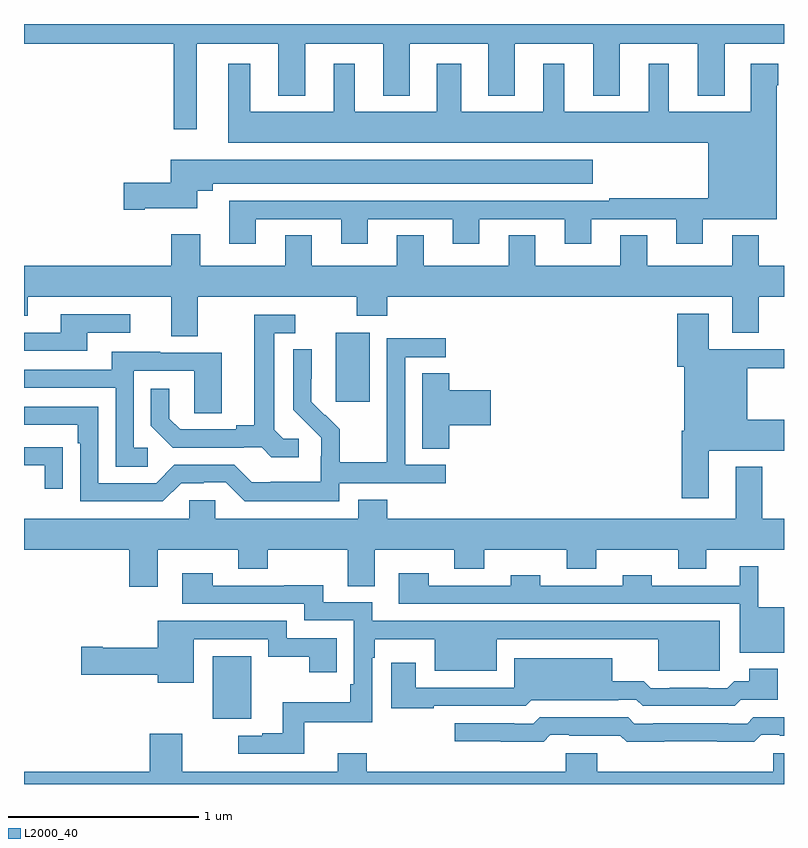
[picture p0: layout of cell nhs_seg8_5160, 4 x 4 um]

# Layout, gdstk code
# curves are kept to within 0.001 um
import gdstk
lib = gdstk.Library(unit=1e-6, precision=1e-09)
def R(c, l, rs):  # rectangles x0, y0, x1, y1
    for r in rs: c.add(gdstk.rectangle(r[:2], r[2:], *l))
def P(c, l, *ps):  # polygons
    for p in ps: c.add(gdstk.Polygon(p, *l))
L2000_40 = (2000, 40)

nhs_seg8_5160 = lib.new_cell('nhs_seg8_5160')
R(nhs_seg8_5160, L2000_40, [(421.994,1150.244,422.197,1150.573), (422.642,1151.913,422.821,1152.274)])
P(nhs_seg8_5160, L2000_40, [(421.909,1153.796),(422.339,1153.796),(422.339,1153.523),(422.479,1153.523),(422.479,1153.796),(422.891,1153.796),(422.891,1153.523),(423.031,1153.523),(423.031,1153.796),(423.443,1153.796),(423.443,1153.523),(423.583,1153.523),(423.583,1153.796),(423.995,1153.796),(423.995,1153.523),(424.135,1153.523),(424.135,1153.796),(424.547,1153.796),(424.547,1153.523),(424.687,1153.523),(424.687,1153.796),(425,1153.796),(425,1153.9),(421,1153.9),(421,1153.796),(421.788,1153.796),(421.788,1153.347),(421.909,1153.347)],
  [(422.221,1152.873),(422.669,1152.873),(422.669,1152.744),(422.809,1152.744),(422.809,1152.873),(423.257,1152.873),(423.257,1152.744),(423.397,1152.744),(423.397,1152.873),(423.845,1152.873),(423.845,1152.744),(423.985,1152.744),(423.985,1152.873),(424.433,1152.873),(424.433,1152.744),(424.573,1152.744),(424.573,1152.872),(424.963,1152.872),(424.963,1153.577),(424.971,1153.577),(424.971,1153.69),(424.826,1153.69),(424.826,1153.438),(424.393,1153.438),(424.393,1153.69),(424.289,1153.69),(424.289,1153.438),(423.844,1153.438),(423.844,1153.69),(423.734,1153.69),(423.734,1153.438),(423.301,1153.438),(423.301,1153.69),(423.173,1153.69),(423.173,1153.438),(422.74,1153.438),(422.74,1153.69),(422.63,1153.69),(422.63,1153.438),(422.191,1153.438),(422.191,1153.69),(422.075,1153.69),(422.075,1153.274),(424.601,1153.274),(424.601,1152.982),(424.081,1152.982),(424.081,1152.969),(422.081,1152.969),(422.081,1152.744),(422.221,1152.744)],
  [(421.636,1152.929),(421.912,1152.929),(421.912,1153.022),(421.993,1153.022),(421.993,1153.058),(423.994,1153.058),(423.994,1153.186),(421.772,1153.186),(421.772,1153.064),(421.524,1153.064),(421.524,1152.922),(421.636,1152.922)],
  [(421.915,1152.464),(422.752,1152.464),(422.752,1152.365),(422.912,1152.365),(422.912,1152.464),(424.727,1152.464),(424.727,1152.274),(424.867,1152.274),(424.867,1152.464),(425,1152.464),(425,1152.628),(424.867,1152.628),(424.867,1152.787),(424.727,1152.787),(424.727,1152.628),(424.279,1152.628),(424.279,1152.788),(424.139,1152.788),(424.139,1152.628),(423.691,1152.628),(423.691,1152.788),(423.551,1152.788),(423.551,1152.628),(423.103,1152.628),(423.103,1152.788),(422.963,1152.788),(422.963,1152.628),(422.515,1152.628),(422.515,1152.788),(422.375,1152.788),(422.375,1152.628),(421.927,1152.628),(421.927,1152.793),(421.775,1152.793),(421.775,1152.628),(421,1152.628),(421,1152.365),(421.021,1152.365),(421.021,1152.464),(421.775,1152.464),(421.775,1152.256),(421.915,1152.256)],
  [(424.603,1151.654),(425,1151.654),(425,1151.818),(424.807,1151.818),(424.807,1152.088),(425,1152.088),(425,1152.189),(424.603,1152.189),(424.603,1152.376),(424.439,1152.376),(424.439,1152.096),(424.475,1152.096),(424.475,1151.758),(424.463,1151.758),(424.463,1151.403),(424.603,1151.403)],
  [(421.333,1152.276),(421.558,1152.276),(421.558,1152.372),(421.193,1152.372),(421.193,1152.276),(421,1152.276),(421,1152.18),(421.333,1152.18)],
  [(422.446,1151.718),(422.364,1151.718),(422.317,1151.765),(422.317,1152.273),(422.428,1152.273),(422.428,1152.369),(422.213,1152.369),(422.213,1151.789),(422.117,1151.789),(422.117,1151.766),(421.822,1151.766),(421.765,1151.823),(421.765,1151.98),(421.668,1151.98),(421.668,1151.786),(421.784,1151.67),(422.156,1151.67),(422.156,1151.673),(422.25,1151.673),(422.302,1151.621),(422.446,1151.621)],
  [(422.658,1151.484),(423.22,1151.484),(423.22,1151.58),(423.006,1151.58),(423.006,1152.147),(423.22,1152.147),(423.22,1152.246),(422.91,1152.246),(422.91,1151.816),(422.908,1151.816),(422.908,1151.593),(422.663,1151.593),(422.663,1151.767),(422.586,1151.844),(422.583,1151.841),(422.513,1151.912),(422.514,1152.188),(422.418,1152.188),(422.418,1151.87),(422.564,1151.722),(422.564,1151.625),(422.562,1151.625),(422.562,1151.491),(422.299,1151.491),(422.299,1151.487),(422.199,1151.487),(422.106,1151.58),(421.791,1151.58),(421.695,1151.484),(421.392,1151.484),(421.392,1151.886),(421,1151.886),(421,1151.79),(421.283,1151.79),(421.283,1151.693),(421.296,1151.693),(421.296,1151.388),(421.731,1151.388),(421.827,1151.484),(421.946,1151.484),(421.946,1151.487),(422.061,1151.487),(422.161,1151.387),(422.658,1151.387)],
  [(421.651,1151.67),(421.578,1151.67),(421.578,1152.075),(421.896,1152.075),(421.896,1151.851),(422.041,1151.851),(422.041,1152.171),(421.717,1152.171),(421.717,1152.175),(421.463,1152.175),(421.463,1152.081),(421,1152.081),(421,1151.985),(421.482,1151.985),(421.482,1151.569),(421.651,1151.569)],
  [(423.239,1151.789),(423.457,1151.789),(423.457,1151.972),(423.239,1151.972),(423.239,1152.062),(423.095,1152.062),(423.095,1151.665),(423.239,1151.665)],
  [(421.205,1151.672),(421.103,1151.672),(421.103,1151.673),(421,1151.673),(421,1151.577),(421.109,1151.577),(421.109,1151.454),(421.205,1151.454)],
  [(421.705,1151.132),(422.128,1151.132),(422.128,1151.033),(422.283,1151.033),(422.283,1151.132),(422.705,1151.132),(422.705,1150.942),(422.845,1150.942),(422.845,1151.132),(423.265,1151.132),(423.265,1151.033),(423.423,1151.033),(423.423,1151.132),(423.856,1151.132),(423.856,1151.033),(424.011,1151.033),(424.011,1151.132),(424.444,1151.132),(424.444,1151.033),(424.591,1151.033),(424.591,1151.132),(425,1151.132),(425,1151.296),(424.885,1151.296),(424.885,1151.569),(424.745,1151.569),(424.745,1151.296),(422.912,1151.296),(422.912,1151.395),(422.759,1151.395),(422.759,1151.296),(422.007,1151.296),(422.007,1151.394),(421.869,1151.394),(421.869,1151.296),(421,1151.296),(421,1151.132),(421.553,1151.132),(421.553,1150.938),(421.705,1150.938)],
  [(425,1150.831),(424.864,1150.831),(424.864,1151.047),(424.766,1151.047),(424.766,1150.944),(424.305,1150.944),(424.305,1150.999),(424.15,1150.999),(424.15,1150.944),(423.717,1150.944),(423.717,1150.999),(423.562,1150.999),(423.562,1150.944),(423.129,1150.944),(423.129,1151.008),(422.973,1151.008),(422.973,1150.848),(424.766,1150.848),(424.766,1150.592),(425,1150.592)],
  [(422.476,1150.226),(422.832,1150.226),(422.832,1150.565),(422.845,1150.565),(422.845,1150.662),(423.161,1150.662),(423.161,1150.496),(423.487,1150.496),(423.487,1150.662),(424.337,1150.662),(424.337,1150.496),(424.663,1150.496),(424.663,1150.759),(424.441,1150.759),(424.441,1150.758),(422.833,1150.758),(422.833,1150.857),(422.575,1150.857),(422.575,1150.946),(422.371,1150.946),(422.371,1150.944),(421.994,1150.944),(421.994,1151.008),(421.833,1151.008),(421.833,1150.848),(422.474,1150.848),(422.474,1150.761),(422.736,1150.761),(422.736,1150.426),(422.716,1150.426),(422.716,1150.33),(422.363,1150.33),(422.363,1150.168),(422.253,1150.168),(422.253,1150.155),(422.127,1150.155),(422.127,1150.059),(422.476,1150.059)],
  [(421.894,1150.662),(422.286,1150.662),(422.286,1150.57),(422.5,1150.57),(422.5,1150.488),(422.647,1150.488),(422.647,1150.668),(422.382,1150.668),(422.382,1150.758),(421.703,1150.758),(421.703,1150.617),(421.414,1150.617),(421.414,1150.622),(421.302,1150.622),(421.302,1150.475),(421.703,1150.475),(421.703,1150.433),(421.894,1150.433)],
  [(423.157,1150.311),(423.64,1150.311),(423.669,1150.34),(424.127,1150.34),(424.127,1150.344),(424.223,1150.344),(424.256,1150.311),(424.74,1150.311),(424.773,1150.344),(424.966,1150.344),(424.966,1150.507),(424.817,1150.507),(424.817,1150.441),(424.738,1150.441),(424.701,1150.404),(424.601,1150.404),(424.601,1150.407),(424.399,1150.407),(424.399,1150.404),(424.299,1150.404),(424.261,1150.442),(424.096,1150.442),(424.096,1150.561),(423.579,1150.561),(423.579,1150.407),(423.061,1150.407),(423.061,1150.537),(422.933,1150.537),(422.933,1150.299),(423.157,1150.299)],
  [(423.771,1150.158),(423.871,1150.158),(423.871,1150.154),(424.139,1150.154),(424.172,1150.122),(424.37,1150.122),(424.37,1150.124),(424.648,1150.124),(424.648,1150.122),(424.843,1150.122),(424.879,1150.158),(424.978,1150.158),(424.978,1150.155),(425,1150.155),(425,1150.251),(424.839,1150.251),(424.806,1150.218),(424.706,1150.218),(424.706,1150.221),(424.312,1150.221),(424.312,1150.218),(424.212,1150.218),(424.179,1150.251),(423.714,1150.251),(423.681,1150.218),(423.581,1150.218),(423.581,1150.221),(423.267,1150.221),(423.267,1150.124),(423.51,1150.124),(423.51,1150.122),(423.735,1150.122)],
  [(425,1150.063),(424.943,1150.063),(424.943,1149.964),(424.016,1149.964),(424.016,1150.063),(423.851,1150.063),(423.851,1149.964),(422.804,1149.964),(422.804,1150.063),(422.651,1150.063),(422.651,1149.964),(421.833,1149.964),(421.833,1150.165),(421.661,1150.165),(421.661,1149.964),(421,1149.964),(421,1149.9),(425,1149.9)])

lib.write_gds('nhs_seg8_5160.gds')
